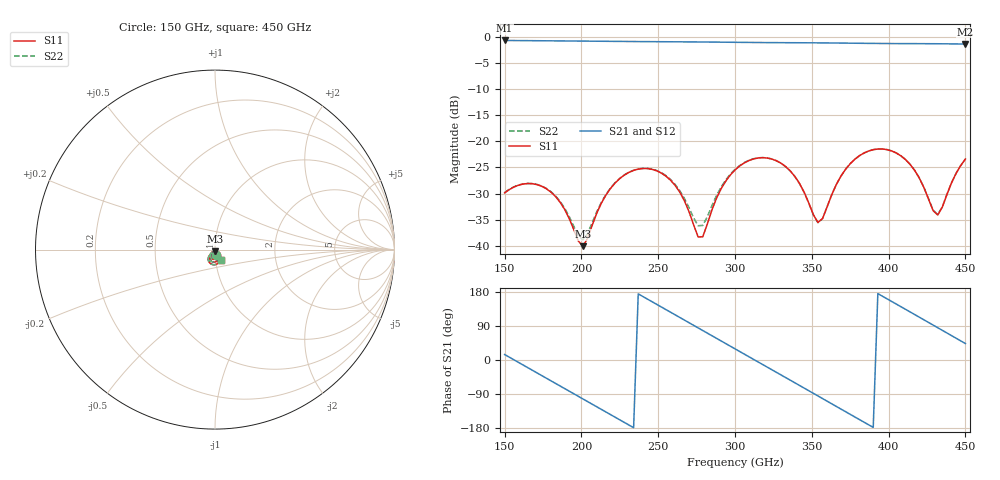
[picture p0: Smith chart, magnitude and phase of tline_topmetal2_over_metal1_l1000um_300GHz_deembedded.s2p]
! Created with skrf 2.2.0 (http://scikit-rf.org).
# GHz S DB R 50.0
! Port[1] = P1
! Port[2] = P2
!freq dBS11 angS11 dBS21 angS21 dBS12 angS12 dBS22 angS22
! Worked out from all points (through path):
!   101 points, 150 GHz to 450 GHz, reference 50 ohm
!   highest |S21| = -0.63 dB at 150 GHz (marker M1); lowest = -1.3 dB at 450 GHz (marker M2)
!   group delay of S21, straight-line fit = 6.4 ps
!   lowest |S11| = -40.1 dB at 201 GHz (marker M3), VSWR 1.02, Z = 49.9 - j0.984 ohm
!   |S11| at or under -10 dB: start of sweep to end of sweep
!   |S22| runs from -38.9 to -21.5 dB; largest |S21 - S12| = 1.1e-14
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150  -29.88 -77.1  -0.63 14.5  -0.63 14.5  -29.81 -79.1
171  -28.28 -112.7  -0.68 -33.8  -0.68 -33.8  -28.24 -112.7
186  -31.62 -134.9  -0.72 -68.3  -0.72 -68.3  -31.46 -133.1
201  -40.10 -94.3  -0.76 -102.8  -0.76 -102.8  -38.89 -95.5
216  -30.28 -58.0  -0.80 -137.3  -0.80 -137.3  -30.17 -60.6
228  -26.45 -75.9  -0.83 -164.8  -0.83 -164.8  -26.42 -77.0
240  -25.21 -97.9  -0.85 167.6  -0.85 167.6  -25.17 -97.9
252  -26.07 -119.8  -0.88 140.0  -0.88 140.0  -25.99 -118.5
267  -31.35 -138.5  -0.90 105.5  -0.90 105.5  -30.91 -133.7
279  -38.31 -80.7  -0.93 77.8  -0.93 77.8  -36.12 -85.7
300  -25.49 -64.7  -0.99 29.5  -0.99 29.5  -25.37 -69.2
312  -23.37 -85.8  -1.02 1.9  -1.02 1.9  -23.33 -89.1
324  -23.39 -107.8  -1.05 -25.7  -1.05 -25.7  -23.37 -110.4
339  -26.74 -130.9  -1.07 -60.2  -1.07 -60.2  -26.75 -132.9
351  -34.05 -120.1  -1.09 -87.9  -1.09 -87.9  -34.10 -121.6
357  -34.80 -75.0  -1.10 -101.8  -1.10 -101.8  -34.81 -76.2
378  -23.43 -66.8  -1.17 -150.3  -1.17 -150.3  -23.42 -68.0
390  -21.59 -87.6  -1.20 -177.9  -1.20 -177.9  -21.58 -88.6
402  -21.84 -109.2  -1.23 154.5  -1.23 154.5  -21.82 -110.1
417  -25.58 -131.3  -1.25 119.9  -1.25 119.9  -25.56 -132.0
432  -34.12 -89.0  -1.27 85.2  -1.27 85.2  -34.04 -89.9
450  -23.39 -58.3  -1.32 43.4  -1.32 43.4  -23.39 -58.9
